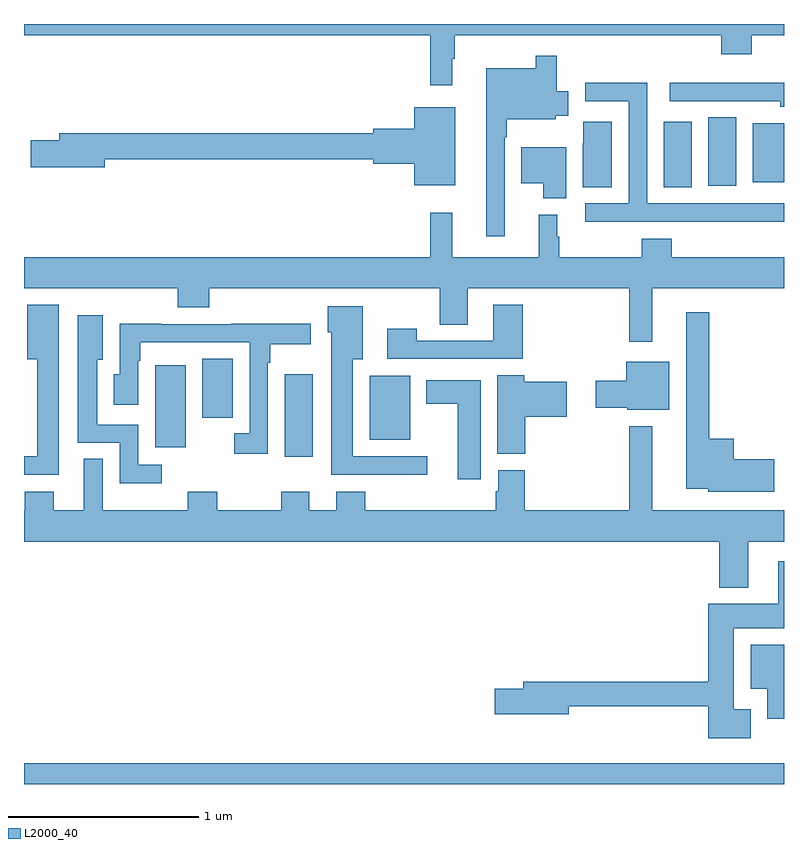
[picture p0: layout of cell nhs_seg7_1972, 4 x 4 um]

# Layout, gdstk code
import gdstk
lib = gdstk.Library(unit=1e-6, precision=1e-09)
def R(c, l, rs):  # rectangles x0, y0, x1, y1
    for r in rs: c.add(gdstk.rectangle(r[:2], r[2:], *l))
def P(c, l, *ps):  # polygons
    for p in ps: c.add(gdstk.Polygon(p, *l))
L2000_40 = (2000, 40)

nhs_seg7_1972 = lib.new_cell('nhs_seg7_1972')
R(nhs_seg7_1972, L2000_40, [(243,1006,247,1006.108), (244.373,1007.723,244.519,1008.157), (243.692,1007.772,243.85,1008.205), (244.82,1007.813,245.032,1008.148), (243.938,1007.928,244.099,1008.239), (246.368,1009.141,246.514,1009.486), (246.602,1009.149,246.748,1009.508), (246.836,1009.166,247,1009.477)])
P(nhs_seg7_1972, L2000_40, [(245.254,1009.817),(245.266,1009.817),(245.266,1009.94),(246.671,1009.94),(246.671,1009.841),(246.831,1009.841),(246.831,1009.94),(247,1009.94),(247,1010),(243,1010),(243,1009.94),(245.137,1009.94),(245.137,1009.677),(245.254,1009.677)],
  [(245.529,1009.403),(245.542,1009.403),(245.542,1009.499),(245.799,1009.499),(245.799,1009.517),(245.865,1009.517),(245.865,1009.647),(245.803,1009.647),(245.803,1009.834),(245.694,1009.834),(245.694,1009.768),(245.432,1009.768),(245.432,1008.882),(245.529,1008.882)],
  [(246.176,1008.96),(246.493,1008.96),(246.493,1008.959),(246.917,1008.959),(246.917,1008.96),(247,1008.96),(247,1009.056),(246.279,1009.056),(246.279,1009.692),(245.955,1009.692),(245.955,1009.593),(246.183,1009.593),(246.183,1009.056),(245.955,1009.056),(245.955,1008.959),(246.176,1008.959)],
  [(247,1009.69),(246.399,1009.69),(246.399,1009.593),(246.981,1009.593),(246.981,1009.565),(247,1009.565)],
  [(245.269,1009.561),(245.054,1009.561),(245.054,1009.448),(244.838,1009.448),(244.838,1009.424),(243.185,1009.424),(243.185,1009.388),(243.036,1009.388),(243.036,1009.246),(243.424,1009.246),(243.424,1009.288),(244.838,1009.288),(244.838,1009.265),(245.054,1009.265),(245.054,1009.151),(245.269,1009.151)],
  [(246.094,1009.486),(245.943,1009.486),(245.943,1009.373),(245.942,1009.373),(245.942,1009.141),(246.094,1009.141)],
  [(245.854,1009.351),(245.618,1009.351),(245.618,1009.163),(245.732,1009.163),(245.732,1009.082),(245.854,1009.082)],
  [(246.307,1008.608),(247,1008.608),(247,1008.772),(246.41,1008.772),(246.41,1008.871),(246.25,1008.871),(246.25,1008.772),(245.818,1008.772),(245.818,1008.879),(245.806,1008.879),(245.806,1008.997),(245.708,1008.997),(245.708,1008.772),(245.255,1008.772),(245.255,1009.006),(245.137,1009.006),(245.137,1008.772),(243,1008.772),(243,1008.608),(243.809,1008.608),(243.809,1008.509),(243.974,1008.509),(243.974,1008.608),(245.188,1008.608),(245.188,1008.418),(245.335,1008.418),(245.335,1008.608),(246.186,1008.608),(246.186,1008.327),(246.307,1008.327)],
  [(245.624,1008.523),(245.471,1008.523),(245.471,1008.333),(245.067,1008.333),(245.067,1008.397),(244.911,1008.397),(244.911,1008.237),(245.624,1008.237)],
  [(243.184,1008.523),(243.017,1008.523),(243.017,1008.236),(243.071,1008.236),(243.071,1007.724),(243,1007.724),(243,1007.627),(243.184,1007.627)],
  [(245.122,1007.724),(244.729,1007.724),(244.729,1008.236),(244.783,1008.236),(244.783,1008.514),(244.598,1008.514),(244.598,1008.378),(244.616,1008.378),(244.616,1007.627),(245.122,1007.627)],
  [(246.949,1007.708),(246.736,1007.708),(246.736,1007.818),(246.607,1007.818),(246.607,1008.484),(246.485,1008.484),(246.485,1007.555),(246.6,1007.555),(246.6,1007.537),(246.949,1007.537)],
  [(243.724,1007.679),(243.6,1007.679),(243.6,1007.892),(243.385,1007.892),(243.385,1008.233),(243.415,1008.233),(243.415,1008.466),(243.284,1008.466),(243.284,1007.796),(243.504,1007.796),(243.504,1007.582),(243.724,1007.582)],
  [(244.284,1008.218),(244.297,1008.218),(244.297,1008.314),(244.51,1008.314),(244.51,1008.422),(244.091,1008.422),(244.091,1008.42),(243.725,1008.42),(243.725,1008.422),(243.504,1008.422),(243.504,1008.156),(243.473,1008.156),(243.473,1007.997),(243.6,1007.997),(243.6,1008.227),(243.613,1008.227),(243.613,1008.324),(244.188,1008.324),(244.188,1007.847),(244.107,1007.847),(244.107,1007.739),(244.284,1007.739)],
  [(246.397,1008.223),(246.17,1008.223),(246.17,1008.123),(246.009,1008.123),(246.009,1007.981),(246.174,1007.981),(246.174,1007.969),(246.397,1007.969)],
  [(245.639,1007.933),(245.857,1007.933),(245.857,1008.116),(245.634,1008.116),(245.634,1008.152),(245.492,1008.152),(245.492,1007.737),(245.639,1007.737)],
  [(245.404,1008.124),(245.117,1008.124),(245.117,1008.002),(245.282,1008.002),(245.282,1007.604),(245.404,1007.604)],
  [(246.659,1007.033),(246.811,1007.033),(246.811,1007.276),(247,1007.276),(247,1007.44),(246.307,1007.44),(246.307,1007.884),(246.186,1007.884),(246.186,1007.44),(245.636,1007.44),(245.636,1007.652),(245.495,1007.652),(245.495,1007.541),(245.483,1007.541),(245.483,1007.44),(244.796,1007.44),(244.796,1007.539),(244.643,1007.539),(244.643,1007.44),(244.501,1007.44),(244.501,1007.539),(244.354,1007.539),(244.354,1007.44),(244.017,1007.44),(244.017,1007.539),(243.862,1007.539),(243.862,1007.44),(243.415,1007.44),(243.415,1007.711),(243.314,1007.711),(243.314,1007.44),(243.157,1007.44),(243.157,1007.539),(243.005,1007.539),(243.005,1007.44),(243,1007.44),(243,1007.276),(246.659,1007.276)],
  [(246.826,1006.393),(246.736,1006.393),(246.736,1006.82),(247,1006.82),(247,1007.173),(246.971,1007.173),(246.971,1006.948),(246.602,1006.948),(246.602,1006.538),(245.627,1006.538),(245.627,1006.502),(245.478,1006.502),(245.478,1006.367),(245.866,1006.367),(245.866,1006.41),(246.602,1006.41),(246.602,1006.241),(246.826,1006.241)],
  [(247,1006.732),(246.824,1006.732),(246.824,1006.502),(246.911,1006.502),(246.911,1006.344),(247,1006.344)])

lib.write_gds('nhs_seg7_1972.gds')
